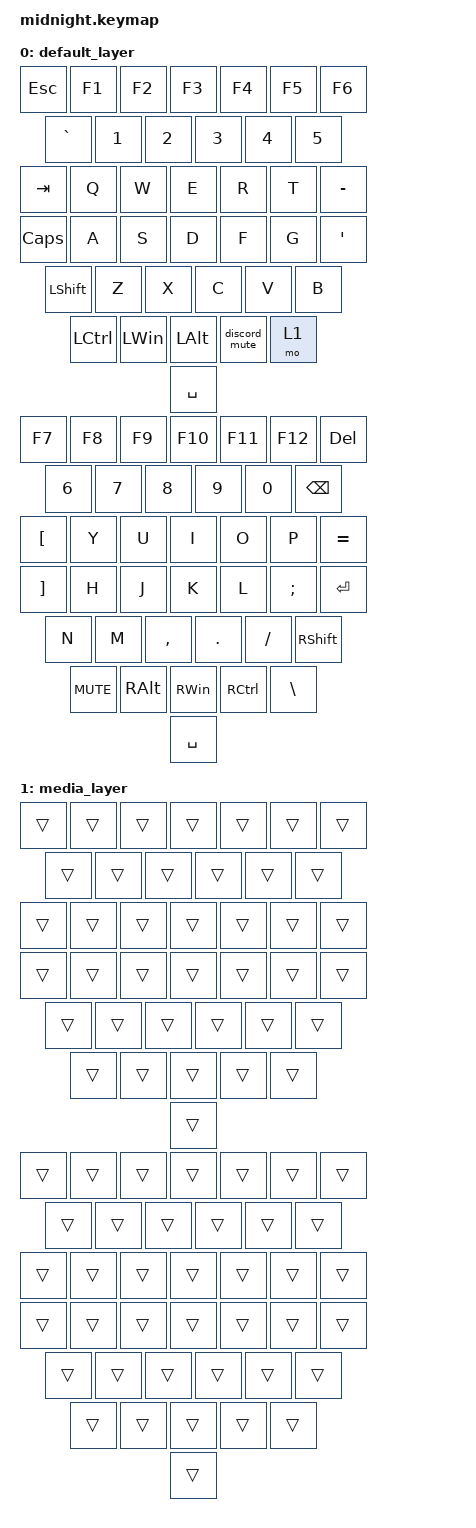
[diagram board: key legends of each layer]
// This file was generated from a template. Edit it to match your keyboard.
// See https://zmk.dev/docs/development/hardware-integration/new-shield for more instructions.

#include <behaviors.dtsi>
#include <dt-bindings/zmk/keys.h>

/ {
    // 1. DEFINE YOUR CUSTOM MACROS HERE
    macros {
        discord_mute: discord_mute {
            compatible = "zmk,behavior-macro";
            #binding-cells = <0>;
            bindings
                = <&macro_press &kp LCTRL &kp LSHFT>
                , <&macro_tap &kp M>
                , <&macro_release &kp LCTRL &kp LSHFT>;
        };

        sc1_macro: sc1 {
            compatible = "zmk,behavior-macro";
            #binding-cells = <0>;
            bindings
                = <&macro_press &kp LCTRL>
                , <&macro_tap &kp A>
                , <&macro_release &kp LCTRL>;
        };

        sc2_macro: sc2 {
            compatible = "zmk,behavior-macro";
            #binding-cells = <0>;
            bindings
                = <&macro_press &kp LALT>
                , <&macro_tap &kp B>
                , <&macro_release &kp LALT>;
        };
    };

    keymap {
        compatible = "zmk,keymap";

        // === LAYER 0: BASE LAYER ===
        default_layer {
            bindings = <

                // === LEFT HALF ===
                &kp ESC    &kp F1    &kp F2   &kp F3   &kp F4   &kp F5   &kp F6
                &kp GRAVE  &kp N1    &kp N2   &kp N3   &kp N4   &kp N5   
                &kp TAB    &kp Q     &kp W    &kp E    &kp R    &kp T    &kp MINUS
                &kp CLCK   &kp A     &kp S    &kp D    &kp F    &kp G    &kp SQT
                &kp LSHFT  &kp Z     &kp X    &kp C    &kp V    &kp B
                &kp LCTRL  &kp LWIN  &kp LALT &discord_mute &mo 1
                                                                         &kp SPACE

                // === RIGHT HALF ===
                &kp F7   &kp F8   &kp F9   &kp F10   &kp F11  &kp F12   &kp DEL
                         &kp N6   &kp N7   &kp N8    &kp N9   &kp N0    &kp BSPC
                &kp LBKT &kp Y    &kp U    &kp I     &kp O    &kp P     &kp EQUAL
                &kp RBKT &kp H    &kp J    &kp K     &kp L    &kp SEMI  &kp ENTER
                         &kp N    &kp M    &kp COMMA &kp DOT  &kp FSLH  &kp RSHFT
                                  &kp C_MUTE &kp RALT  &kp RWIN &kp RCTRL &kp BACKSLASH
                &kp SPACE

            >;
        };

        // === LAYER 1: MEDIA LAYER (HOLD THE FUNCTION KEY TO ACCESS) ===
        media_layer {
            bindings = <

                // === LEFT HALF (Transparent) ===
                &trans    &trans    &trans   &trans   &trans   &trans   &trans
                &trans    &trans    &trans   &trans   &trans   &trans   
                &trans    &trans    &trans   &trans   &trans   &trans   &trans
                &trans    &trans    &trans   &trans   &trans   &trans   &trans
                &trans    &trans    &trans   &trans   &trans   &trans
                &trans    &trans    &trans   &trans   &trans
                                                                        &trans

                // === RIGHT HALF (Transparent) ===
                &trans   &trans   &trans   &trans   &trans   &trans   &trans
                         &trans   &trans   &trans   &trans   &trans   &trans
                &trans   &trans   &trans   &trans   &trans   &trans   &trans
                &trans   &trans   &trans   &trans   &trans   &trans   &trans
                         &trans   &trans   &trans   &trans   &trans   &trans
                                  &trans   &trans   &trans   &trans   &trans
                &trans

            >;
        };
    };
};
